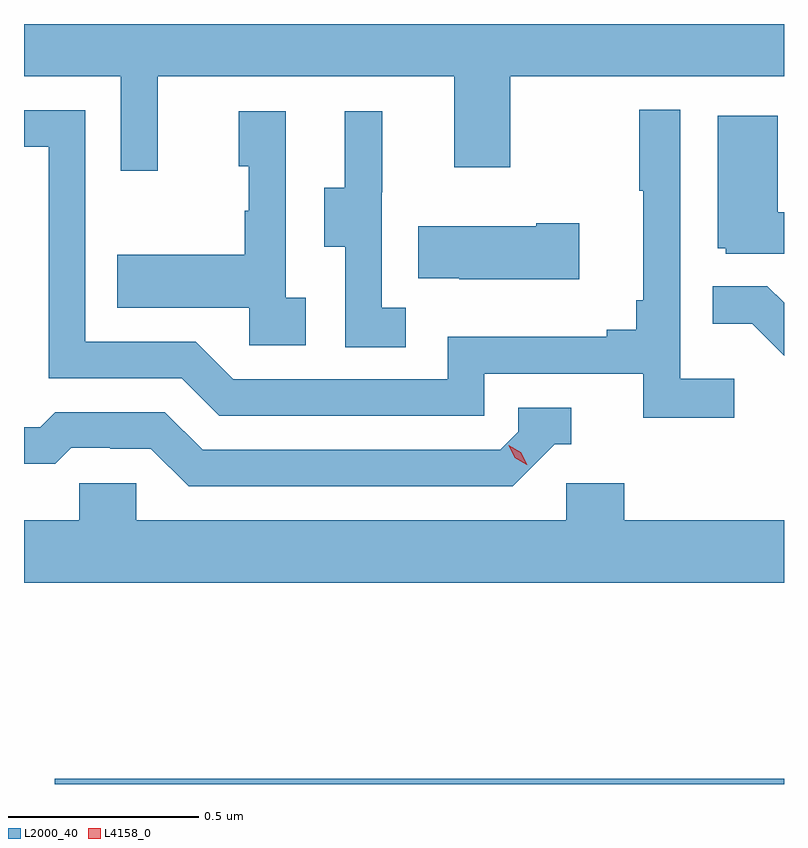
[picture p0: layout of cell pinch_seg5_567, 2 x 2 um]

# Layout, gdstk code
import gdstk
lib = gdstk.Library(unit=1e-6, precision=1e-09)
def R(c, l, rs):  # rectangles x0, y0, x1, y1
    for r in rs: c.add(gdstk.rectangle(r[:2], r[2:], *l))
def P(c, l, *ps):  # polygons
    for p in ps: c.add(gdstk.Polygon(p, *l))
L2000_40 = (2000, 40)
L4158_0 = (4158, 0)

pinch_seg5_567 = lib.new_cell('pinch_seg5_567')
R(pinch_seg5_567, L2000_40, [(997.876,838.914,999.795,838.928)])
P(pinch_seg5_567, L2000_40, [(998.147,840.776),(998.927,840.776),(998.927,840.537),(999.075,840.537),(999.075,840.776),(999.795,840.776),(999.795,840.914),(997.795,840.914),(997.795,840.776),(998.049,840.776),(998.049,840.528),(998.147,840.528)],
  [(999.664,839.98),(999.522,839.98),(999.522,840.688),(999.414,840.688),(999.414,840.475),(999.425,840.475),(999.425,840.187),(999.406,840.187),(999.406,840.11),(999.329,840.11),(999.329,840.091),(998.91,840.091),(998.91,839.979),(998.346,839.979),(998.247,840.078),(997.956,840.078),(997.956,840.687),(997.795,840.687),(997.795,840.591),(997.86,840.591),(997.86,839.982),(998.21,839.982),(998.309,839.883),(999.006,839.883),(999.006,839.994),(999.425,839.994),(999.425,839.878),(999.664,839.878)],
  [(998.8,840.167),(998.736,840.167),(998.736,840.471),(998.738,840.471),(998.738,840.685),(998.639,840.685),(998.639,840.483),(998.585,840.483),(998.585,840.328),(998.64,840.328),(998.64,840.064),(998.8,840.064)],
  [(998.536,840.194),(998.484,840.194),(998.484,840.685),(998.36,840.685),(998.36,840.54),(998.386,840.54),(998.386,840.422),(998.376,840.422),(998.376,840.307),(998.041,840.307),(998.041,840.167),(998.388,840.167),(998.388,840.069),(998.536,840.069)],
  [(999.795,840.418),(999.778,840.418),(999.778,840.673),(999.62,840.673),(999.62,840.324),(999.642,840.324),(999.642,840.309),(999.795,840.309)],
  [(999.256,840.39),(999.143,840.39),(999.143,840.382),(998.833,840.382),(998.833,840.245),(998.941,840.245),(998.941,840.242),(999.256,840.242)],
  [(999.795,840.18),(999.751,840.224),(999.607,840.224),(999.607,840.125),(999.711,840.125),(999.795,840.041)],
  [(999.192,839.808),(999.235,839.808),(999.235,839.904),(999.096,839.904),(999.096,839.841),(999.048,839.793),(998.265,839.793),(998.166,839.892),(997.877,839.892),(997.838,839.853),(997.795,839.853),(997.795,839.757),(997.877,839.757),(997.919,839.799),(998.022,839.799),(998.022,839.796),(998.129,839.796),(998.228,839.697),(999.081,839.697)],
  [(999.795,839.608),(999.374,839.608),(999.374,839.706),(999.222,839.706),(999.222,839.608),(998.091,839.608),(998.091,839.706),(997.941,839.706),(997.941,839.608),(997.795,839.608),(997.795,839.444),(999.795,839.444)])
P(pinch_seg5_567, L4158_0, [(999.118,839.754),(999.087,839.773),(999.07,839.806),(999.07,839.806),(999.071,839.806),(999.102,839.787),(999.119,839.754),(999.119,839.754)])

lib.write_gds('pinch_seg5_567.gds')
